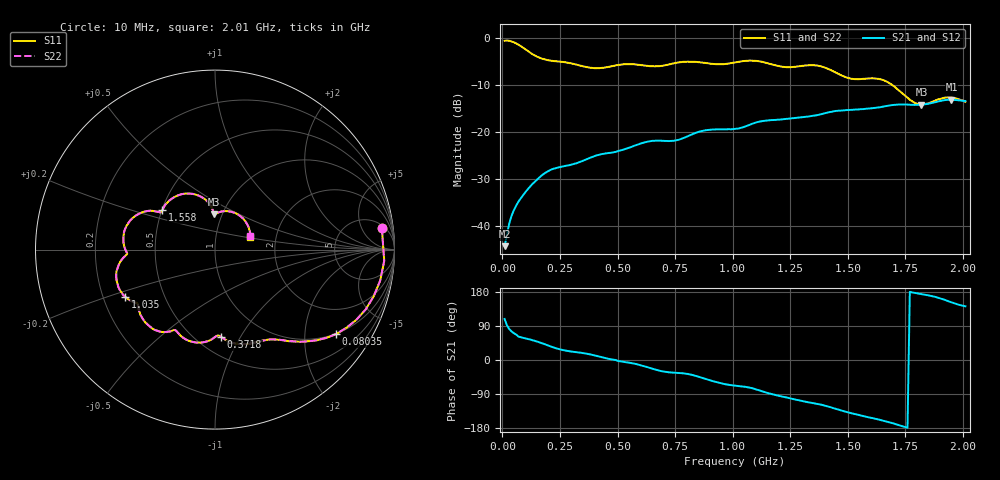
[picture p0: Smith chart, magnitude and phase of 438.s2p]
# MHz S MA R 50
!  freq  S11  S21  S12  S22
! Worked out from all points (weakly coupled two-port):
!   200 points, 10 MHz to 2.01 GHz, reference 50 ohm
!   highest |S21| = -13.09 dB at 1.95 GHz (marker M1); lowest = -44.3 dB at 10 MHz (marker M2)
!   lowest |S11| = -14.1 dB at 1.819 GHz (marker M3), VSWR 1.49, Z = 45.9 + j18.8 ohm
!   |S11| at or under -10 dB: 1.693 GHz to end of sweep
!   |S22| runs from -14.1 to -0.5 dB; largest |S21 - S12| = 0.0015
!   S11 on the Smith chart (normalised r, x): 10 MHz: 6, +12; 80.35 MHz: 0.98, -2.88; 371.8 MHz: 0.65, -0.83; 1.035 GHz: 0.29, -0.23; 1.558 GHz: 0.50, +0.26; 2.01 GHz: 1.47, +0.22
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10  0.9374 7.4  0.00609 108.2  0.00607 108.1  0.9372 7.4
20.05025  0.9451 -3.8  0.0081 91.5  0.00808 91.2  0.9447 -3.8
40.15075  0.9215 -16.4  0.01283 75.3  0.01279 75.3  0.9214 -16.4
80.35176  0.8233 -34.9  0.01972 60.0  0.01969 60.0  0.8216 -35.0
150.7035  0.6356 -52.8  0.03113 48.8  0.03112 48.8  0.6353 -52.7
211.005  0.5758 -61.4  0.03972 35.5  0.03969 35.5  0.5759 -61.4
351.7085  0.5003 -84.2  0.0496 18.1  0.04956 18.1  0.5001 -84.2
371.809  0.4886 -85.9  0.05203 15.9  0.05198 15.9  0.4883 -85.9
532.6131  0.5281 -101.2  0.06585 -5.2  0.06589 -5.3  0.5282 -101.2
683.3668  0.5038 -117.1  0.08101 -28.4  0.081 -28.4  0.5039 -117.0
844.1709  0.5578 -136.3  0.09897 -42.8  0.09888 -42.8  0.5572 -136.3
1015.025  0.5541 -149.7  0.1082 -68.0  0.1082 -67.9  0.5544 -149.6
1035.126  0.5651 -152.2  0.1108 -69.2  0.1108 -69.2  0.565 -152.3
1155.729  0.5372 -172.0  0.1333 -87.9  0.1334 -87.8  0.5375 -171.9
1346.683  0.516 169.4  0.1488 -113.8  0.1487 -113.7  0.5161 169.5
1427.085  0.4557 152.8  0.1641 -125.0  0.1643 -124.8  0.4555 153.0
1557.739  0.3673 143.1  0.1753 -146.7  0.1749 -146.5  0.3666 143.1
1678.342  0.3339 111.7  0.1914 -163.9  0.1913 -164.0  0.3338 111.6
1748.693  0.2428 95.0  0.1966 -176.9  0.1965 -176.9  0.2425 95.0
1819.045  0.1963 91.1  0.1958 173.7  0.1958 173.8  0.1963 91.1
1949.698  0.2335 47.4  0.2217 152.2  0.2217 152.2  0.2336 47.4
2010  0.2097 20.3  0.2142 141.6  0.2142 141.7  0.21 20.4
